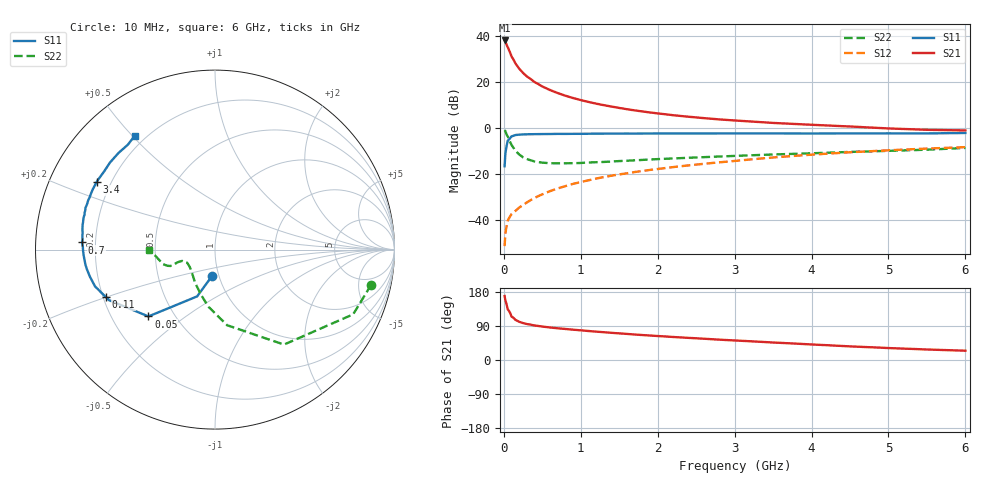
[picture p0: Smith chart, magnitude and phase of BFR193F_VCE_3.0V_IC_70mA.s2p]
! Infineon Technologies  Discrete & RF Semiconductors
! BFR193F
! VCE =  3.0 V,  IC =  70 mA
! Common Emitter S-Parameters:  Jan 2017
# GHz  S  MA  R  50
!  f  S11  S21  S12  S22
! GHz  MAG  ANG  MAG  ANG  MAG  ANG  MAG  ANG
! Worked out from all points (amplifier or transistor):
!   77 points, 10 MHz to 6 GHz, reference 50 ohm
!   highest |S21| = 38.0 dB at 10 MHz (marker M1)
!   |S21| within 3 dB of that: start of sweep to 51.48 MHz
!   unconditionally stable (mu >= 1): 591 MHz to 2.624 GHz
!   at 130 MHz: K = 0.61, MSG = 33.0 dB, |S12| = -36.6 dB
!   at 2.2 GHz: K = 1.02, MAG = 10.5 dB, |S12| = -17.0 dB
!   at 6 GHz: K = 0.88, MSG = 3.6 dB, |S12| = -8.4 dB
!   S11 on the Smith chart (normalised r, x): 10 MHz: 0.93, -0.28; 50 MHz: 0.36, -0.37; 110 MHz: 0.21, -0.20; 700 MHz: 0.15, +0.03; 3.4 GHz: 0.15, +0.26; 6 GHz: 0.16, +0.51
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0.01  0.1471 -96.2  79.25 168.8  0.0027 76.1  0.8918 -12.7
0.02  0.2789 -110.9  75.34 157.5  0.0051 80.3  0.8501 -25.1
0.05  0.5254 -134.9  56.8 133.9  0.0096 57.1  0.654 -54.0
0.1  0.6544 -154.5  35.72 114.7  0.0134 54.6  0.4268 -80.9
0.11  0.6621 -156.3  33.58 113.4  0.0139 54.5  0.4035 -83.3
0.15  0.6992 -163.0  25.25 106.0  0.0157 54.2  0.3205 -96.5
0.2  0.7131 -167.8  19.33 100.8  0.0186 58.6  0.2647 -106.9
0.25  0.7221 -171.3  15.6 97.5  0.0212 61.5  0.2293 -116.0
0.3  0.7268 -173.4  13.09 94.9  0.0241 64.4  0.2109 -122.4
0.4  0.7315 -176.9  9.878 91.0  0.0301 66.9  0.1861 -132.6
0.5  0.735 -179.3  7.943 88.3  0.0361 70.1  0.176 -139.7
0.6  0.7365 178.8  6.646 85.8  0.0423 72.6  0.171 -144.9
0.7  0.7415 176.9  5.709 83.7  0.0485 72.9  0.1702 -148.4
0.9  0.7431 174.0  4.456 80.0  0.0609 74.5  0.1712 -154.0
1.1  0.7468 171.5  3.663 76.5  0.0727 74.9  0.1772 -156.8
1.5  0.7528 167.1  2.715 70.3  0.0977 75.3  0.1904 -160.1
2.1  0.7573 161.4  1.975 62.1  0.1344 74.4  0.2135 -161.3
3.1  0.7591 152.9  1.415 50.5  0.1986 71.8  0.25 -159.8
3.4  0.7591 150.4  1.315 47.3  0.2203 70.6  0.2609 -159.8
4.1  0.7563 144.0  1.149 40.0  0.2687 67.0  0.2847 -162.0
5.1  0.7601 133.9  0.96 30.8  0.3319 60.7  0.321 -170.8
6  0.7756 125.3  0.882 24.5  0.382 55.0  0.3672 -179.7
